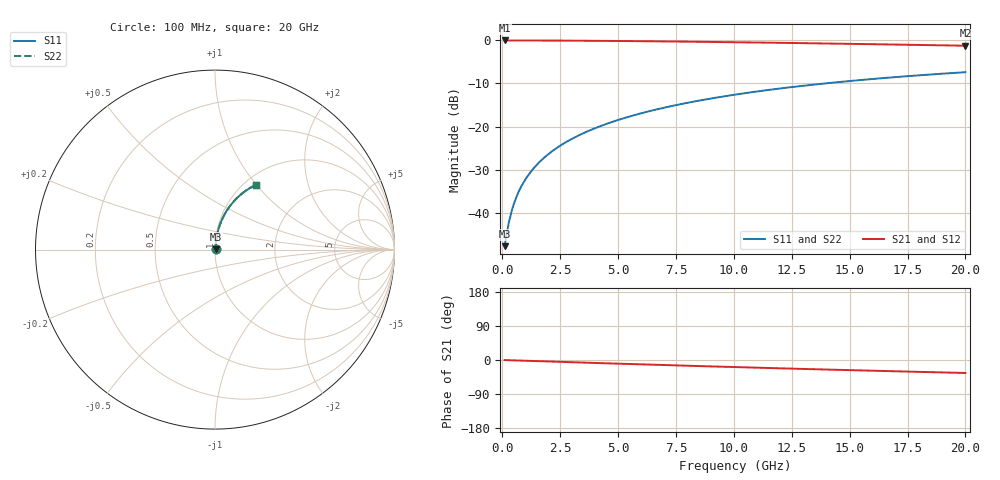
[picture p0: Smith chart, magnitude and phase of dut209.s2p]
! Touchstone file exported from HFSS 2024.1.0
!  File:  C:/UserFiles/LocalFiles/RDL_TSV_Batchsim/temp_RDL_bottom_209_1778699927.aedt
!  Generated:  03:21:22 AM May 14, 2026
!  Design:  RDL_bottom
!  Project:  temp_RDL_bottom_209_1778699927
!  Setup:  Setup1
!  Solution:  Sweep
! Variables:
!  dtsv = 10.80580581um
!  hbump = 3um
!  htsv = 60.39um
!  ldown = 392.01um
!  lrdl = 100um
!  p = 40
!  p1 = 55.67um
!  rhole = 1um
!  t = 450um
!  tdown = 3.88um
!  trdl = 3.915915916um
!  wdown = 11.23um
!  wrdl = 20um
# GHz S MA R 50.000000
! Terminal data exported
! Port[1] = RDL1_T1
! Port[2] = RDL1_T2
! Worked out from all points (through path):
!   200 points, 100 MHz to 20 GHz, reference 50 ohm
!   highest |S21| = -0.03 dB at 100 MHz (marker M1); lowest = -1.2 dB at 20 GHz (marker M2)
!   group delay of S21, straight-line fit = 4.75 ps
!   lowest |S11| = -47.8 dB at 100 MHz (marker M3), VSWR 1.01, Z = 50.3 + j0.247 ohm
!   |S11| at or under -10 dB: start of sweep to 13.94 GHz
!   |S22| runs from -47.8 to -7.4 dB; largest |S21 - S12| = 3.3e-15
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0.1  0.004087 36.9  0.9967 -0.2  0.9967 -0.2  0.004087 36.9
! Gamma 0 0 0 0
! Port Impedance 50 0 50 0
0.2  0.005915 55.8  0.9967 -0.4  0.9967 -0.4  0.005915 55.8
0.3  0.00807 65.1  0.9966 -0.6  0.9966 -0.6  0.00807 65.1
0.4  0.01034 70.2  0.9965 -0.8  0.9965 -0.8  0.01034 70.2
0.5  0.01264 73.4  0.9964 -1.0  0.9964 -1.0  0.01264 73.4
0.6  0.01497 75.6  0.9963 -1.2  0.9963 -1.2  0.01497 75.6
0.8  0.01966 78.3  0.9961 -1.6  0.9961 -1.6  0.01966 78.3
1.1  0.02672 80.5  0.9957 -2.2  0.9957 -2.2  0.02672 80.5
1.5  0.03618 81.8  0.9951 -3.0  0.9951 -3.0  0.03618 81.8
1.8  0.04329 82.2  0.9945 -3.5  0.9945 -3.5  0.04329 82.2
2.1  0.0504 82.4  0.9938 -4.1  0.9938 -4.1  0.0504 82.4
2.7  0.06464 82.4  0.9922 -5.3  0.9922 -5.3  0.06464 82.4
3.5  0.08361 81.8  0.9895 -6.8  0.9895 -6.8  0.08361 81.8
4.2  0.1002 81.1  0.9867 -8.2  0.9867 -8.2  0.1002 81.1
5  0.119 80.1  0.9829 -9.7  0.9829 -9.7  0.119 80.1
5.9  0.1401 78.9  0.9782 -11.3  0.9782 -11.3  0.1401 78.9
6.8  0.161 77.6  0.973 -13.0  0.973 -13.0  0.161 77.6
8.3  0.1953 75.3  0.9633 -15.7  0.9633 -15.7  0.1953 75.3
10.1  0.2354 72.6  0.9505 -18.8  0.9505 -18.8  0.2354 72.6
13.4  0.3053 67.5  0.9243 -24.3  0.9243 -24.3  0.3053 67.5
16.7  0.3693 62.5  0.8959 -29.4  0.8959 -29.4  0.3693 62.5
20  0.4269 57.7  0.8661 -34.2  0.8661 -34.2  0.4269 57.7
